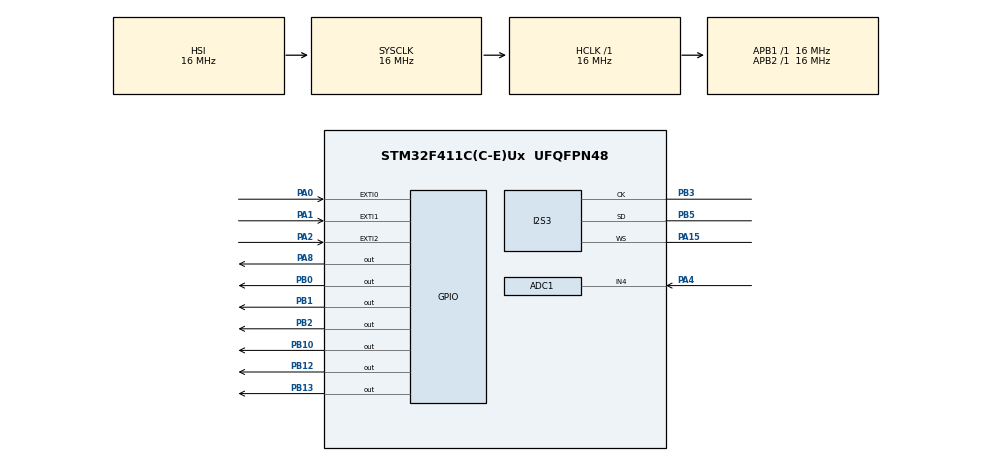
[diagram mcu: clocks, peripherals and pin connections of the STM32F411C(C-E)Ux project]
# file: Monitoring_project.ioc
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ADC1.Channel-0\#ChannelRegularConversion=ADC_CHANNEL_4
ADC1.NbrOfConversionFlag=1
ADC1.Rank-0\#ChannelRegularConversion=1
ADC1.SamplingTime-0\#ChannelRegularConversion=ADC_SAMPLETIME_3CYCLES
ADC1.master=1
Dma.Request0=SPI3_RX
Dma.SPI3_RX.0.Direction=DMA_PERIPH_TO_MEMORY
Dma.SPI3_RX.0.FIFOMode=DMA_FIFOMODE_DISABLE
Dma.SPI3_RX.0.Instance=DMA1_Stream0
Dma.SPI3_RX.0.MemDataAlignment=DMA_MDATAALIGN_HALFWORD
Dma.SPI3_RX.0.MemInc=DMA_MINC_ENABLE
Dma.SPI3_RX.0.Mode=DMA_CIRCULAR
Dma.SPI3_RX.0.PeriphDataAlignment=DMA_PDATAALIGN_HALFWORD
Dma.SPI3_RX.0.PeriphInc=DMA_PINC_DISABLE
Dma.SPI3_RX.0.Priority=DMA_PRIORITY_HIGH
I2S3.AudioFreq=I2S_AUDIOFREQ_16K
I2S3.DataFormat=I2S_DATAFORMAT_24B
I2S3.ErrorAudioFreq=-0.26 %
I2S3.FullDuplexMode=I2S_FULLDUPLEXMODE_DISABLE
I2S3.Instance=SPI$Index
I2S3.Mode=I2S_MODE_MASTER_RX
I2S3.RealAudioFreq=15.957 KHz
I2S3.VirtualMode=I2S_MODE_MASTER
Mcu.Family=STM32F4
Mcu.Name=STM32F411C(C-E)Ux
Mcu.Package=UFQFPN48
NVIC.DMA1_Stream0_IRQn=true\:0\:0\:false\:false\:true\:false\:true\:true
NVIC.EXTI0_IRQn=true\:0\:0\:false\:false\:true\:true\:true\:true
NVIC.EXTI1_IRQn=true\:0\:0\:false\:false\:true\:true\:true\:true
NVIC.EXTI2_IRQn=true\:0\:0\:false\:false\:true\:true\:true\:true
NVIC.PriorityGroup=NVIC_PRIORITYGROUP_4
NVIC.SPI3_IRQn=true\:0\:0\:false\:false\:true\:true\:true\:true
PA0-WKUP.GPIO_ModeDefaultEXTI=GPIO_MODE_IT_FALLING
PA0-WKUP.GPIO_PuPd=GPIO_PULLUP
PA0-WKUP.Signal=GPXTI0
PA1.GPIO_ModeDefaultEXTI=GPIO_MODE_IT_FALLING
PA1.GPIO_PuPd=GPIO_PULLUP
PA1.Signal=GPXTI1
PA15.Mode=Half_Duplex_Master
PA15.Signal=I2S3_WS
PA2.GPIO_ModeDefaultEXTI=GPIO_MODE_IT_RISING_FALLING
PA2.GPIO_PuPd=GPIO_PULLUP
PA2.Signal=GPXTI2
PA4.Signal=ADCx_IN4
PA8.GPIO_ModeDefaultOutputPP=GPIO_MODE_OUTPUT_OD
PA8.GPIO_PuPd=GPIO_NOPULL
PA8.Signal=GPIO_Output
PB0.Signal=GPIO_Output
PB1.Signal=GPIO_Output
PB10.Signal=GPIO_Output
PB12.Signal=GPIO_Output
PB13.Signal=GPIO_Output
PB2.Signal=GPIO_Output
PB3.Mode=Half_Duplex_Master
PB3.Signal=I2S3_CK
PB5.Mode=Half_Duplex_Master
PB5.Signal=I2S3_SD
PC14-OSC32_IN.Mode=LSE-External-Oscillator
PC14-OSC32_IN.Signal=RCC_OSC32_IN
PC15-OSC32_OUT.Mode=LSE-External-Oscillator
PC15-OSC32_OUT.Signal=RCC_OSC32_OUT
ProjectManager.HeapSize=0x200
ProjectManager.StackSize=0x400
ProjectManager.TargetToolchain=STM32CubeIDE
RCC.AHBFreq_Value=16000000
RCC.APB1Freq_Value=16000000
RCC.APB2Freq_Value=16000000
RCC.CortexFreq_Value=16000000
RCC.HSE_VALUE=25000000
RCC.HSI_VALUE=16000000
RCC.RCC_RTC_Clock_Source=RCC_RTCCLKSOURCE_LSE
RCC.RCC_RTC_Clock_SourceVirtual=RCC_RTCCLKSOURCE_LSE
RCC.SYSCLKFreq_VALUE=16000000
RCC.VCOOutputFreq_Value=192000000
RTC.SynchPrediv=249
SH.ADCx_IN4.0=ADC1_IN4,IN4
VP_RTC_VS_RTC_Activate.Mode=RTC_Enabled
VP_RTC_VS_RTC_Calendar.Mode=RTC_Calendar
board=custom

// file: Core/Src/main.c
/* USER CODE BEGIN Header */
/**
  ******************************************************************************
  * @file           : main.c
  * @brief          : Main program body
  ******************************************************************************
  * @attention
  *
  * Copyright (c) 2026 STMicroelectronics.
  * All rights reserved.
  *
  * This software is licensed under terms that can be found in the LICENSE file
  * in the root directory of this software component.
  * If no LICENSE file comes with this software, it is provided AS-IS.
  *
  ******************************************************************************
  */
/* USER CODE END Header */
#include "main.h"

/* USER CODE BEGIN Includes */
#include "lcd.h"
#include "stdio.h"
#include "buttons.h"
#include "dashboard.h"
#include "dht11.h"

/* USER CODE END Includes */

ADC_HandleTypeDef hadc1;

I2S_HandleTypeDef hi2s3;
DMA_HandleTypeDef hdma_spi3_rx;

RTC_HandleTypeDef hrtc;

/* USER CODE BEGIN PV */
RTC_TimeTypeDef gTime;
RTC_DateTypeDef gDate;
char buffer[17];

uint8_t page = 0;

GPIO_PinState nextPrevState = GPIO_PIN_SET;
GPIO_PinState prevPrevState = GPIO_PIN_SET;

uint32_t lastNextPress = 0;
uint32_t lastPrevPress = 0;
uint32_t lastClockUpdate = 0;

uint8_t pageChanged = 1;

/* USER CODE END PV */

void SystemClock_Config(void);
static void MX_GPIO_Init(void);
static void MX_DMA_Init(void);
static void MX_ADC1_Init(void);
static void MX_RTC_Init(void);
static void MX_I2S3_Init(void);

int main(void)
{

  /* MCU Configuration--------------------------------------------------------*/

  /* Reset of all peripherals, Initializes the Flash interface and the Systick. */
  HAL_Init();

  /* Configure the system clock */
  SystemClock_Config();

  /* Initialize all configured peripherals */
  MX_GPIO_Init();
  MX_DMA_Init();
  MX_ADC1_Init();
  MX_RTC_Init();
  MX_I2S3_Init();
  /* USER CODE BEGIN 2 */
  Dashboard_Init();

  RTC_TimeTypeDef sTime = {0};
  RTC_DateTypeDef sDate = {0};

  sTime.Hours = 14;
  sTime.Minutes = 30;
  sTime.Seconds = 0;
  sTime.DayLightSaving = RTC_DAYLIGHTSAVING_NONE;
  sTime.StoreOperation = RTC_STOREOPERATION_RESET;

  HAL_RTC_SetTime(&hrtc, &sTime, RTC_FORMAT_BIN);

  sDate.Year = 26;
  sDate.Month = RTC_MONTH_NOVEMBER;
  sDate.Date = 10;
  sDate.WeekDay = RTC_WEEKDAY_TUESDAY;

  HAL_RTC_SetDate(&hrtc, &sDate, RTC_FORMAT_BIN);

  /* USER CODE END 2 */

  /* Infinite loop */
  while (1)
  {

    /* USER CODE BEGIN 3 */
	  Dashboard_Process();

  }
  /* USER CODE END 3 */
}

void SystemClock_Config(void)
{
  RCC_OscInitTypeDef RCC_OscInitStruct = {0};
  RCC_ClkInitTypeDef RCC_ClkInitStruct = {0};

  /** Macro to configure the PLL multiplication factor
  */
  __HAL_RCC_PLL_PLLM_CONFIG(16);

  /** Macro to configure the PLL clock source
  */
  __HAL_RCC_PLL_PLLSOURCE_CONFIG(RCC_PLLSOURCE_HSI);

  /** Configure the main internal regulator output voltage
  */
  __HAL_RCC_PWR_CLK_ENABLE();
  __HAL_PWR_VOLTAGESCALING_CONFIG(PWR_REGULATOR_VOLTAGE_SCALE1);

  /** Initializes the RCC Oscillators according to the specified parameters
  * in the RCC_OscInitTypeDef structure.
  */
  RCC_OscInitStruct.OscillatorType = RCC_OSCILLATORTYPE_HSI|RCC_OSCILLATORTYPE_LSE;
  RCC_OscInitStruct.LSEState = RCC_LSE_ON;
  RCC_OscInitStruct.HSIState = RCC_HSI_ON;
  RCC_OscInitStruct.HSICalibrationValue = RCC_HSICALIBRATION_DEFAULT;
  RCC_OscInitStruct.PLL.PLLState = RCC_PLL_NONE;
  RCC_OscInitStruct.PLL.PLLSource = RCC_PLLSOURCE_HSI;
  if (HAL_RCC_OscConfig(&RCC_OscInitStruct) != HAL_OK)
  {
    Error_Handler();
  }

  /** Initializes the CPU, AHB and APB buses clocks
  */
  RCC_ClkInitStruct.ClockType = RCC_CLOCKTYPE_HCLK|RCC_CLOCKTYPE_SYSCLK
                              |RCC_CLOCKTYPE_PCLK1|RCC_CLOCKTYPE_PCLK2;
  RCC_ClkInitStruct.SYSCLKSource = RCC_SYSCLKSOURCE_HSI;
  RCC_ClkInitStruct.AHBCLKDivider = RCC_SYSCLK_DIV1;
  RCC_ClkInitStruct.APB1CLKDivider = RCC_HCLK_DIV1;
  RCC_ClkInitStruct.APB2CLKDivider = RCC_HCLK_DIV1;

  if (HAL_RCC_ClockConfig(&RCC_ClkInitStruct, FLASH_LATENCY_0) != HAL_OK)
  {
    Error_Handler();
  }
}

static void MX_ADC1_Init(void)
{

  ADC_ChannelConfTypeDef sConfig = {0};

  /** Configure the global features of the ADC (Clock, Resolution, Data Alignment and number of conversion)
  */
  hadc1.Instance = ADC1;
  hadc1.Init.ClockPrescaler = ADC_CLOCK_SYNC_PCLK_DIV2;
  hadc1.Init.Resolution = ADC_RESOLUTION_12B;
  hadc1.Init.ScanConvMode = DISABLE;
  hadc1.Init.ContinuousConvMode = DISABLE;
  hadc1.Init.DiscontinuousConvMode = DISABLE;
  hadc1.Init.ExternalTrigConvEdge = ADC_EXTERNALTRIGCONVEDGE_NONE;
  hadc1.Init.ExternalTrigConv = ADC_SOFTWARE_START;
  hadc1.Init.DataAlign = ADC_DATAALIGN_RIGHT;
  hadc1.Init.NbrOfConversion = 1;
  hadc1.Init.DMAContinuousRequests = DISABLE;
  hadc1.Init.EOCSelection = ADC_EOC_SINGLE_CONV;
  if (HAL_ADC_Init(&hadc1) != HAL_OK)
  {
    Error_Handler();
  }

  /** Configure for the selected ADC regular channel its corresponding rank in the sequencer and its sample time.
  */
  sConfig.Channel = ADC_CHANNEL_4;
  sConfig.Rank = 1;
  sConfig.SamplingTime = ADC_SAMPLETIME_3CYCLES;
  if (HAL_ADC_ConfigChannel(&hadc1, &sConfig) != HAL_OK)
  {
    Error_Handler();
  }

}

static void MX_I2S3_Init(void)
{

  hi2s3.Instance = SPI3;
  hi2s3.Init.Mode = I2S_MODE_MASTER_RX;
  hi2s3.Init.Standard = I2S_STANDARD_PHILIPS;
  hi2s3.Init.DataFormat = I2S_DATAFORMAT_24B;
  hi2s3.Init.MCLKOutput = I2S_MCLKOUTPUT_DISABLE;
  hi2s3.Init.AudioFreq = I2S_AUDIOFREQ_16K;
  hi2s3.Init.CPOL = I2S_CPOL_LOW;
  hi2s3.Init.ClockSource = I2S_CLOCK_PLL;
  hi2s3.Init.FullDuplexMode = I2S_FULLDUPLEXMODE_DISABLE;
  if (HAL_I2S_Init(&hi2s3) != HAL_OK)
  {
    Error_Handler();
  }

}

static void MX_RTC_Init(void)
{

  RTC_TimeTypeDef sTime = {0};
  RTC_DateTypeDef sDate = {0};

  /** Initialize RTC Only
  */
  hrtc.Instance = RTC;
  hrtc.Init.HourFormat = RTC_HOURFORMAT_24;
  hrtc.Init.AsynchPrediv = 127;
  hrtc.Init.SynchPrediv = 249;
  hrtc.Init.OutPut = RTC_OUTPUT_DISABLE;
  hrtc.Init.OutPutPolarity = RTC_OUTPUT_POLARITY_HIGH;
  hrtc.Init.OutPutType = RTC_OUTPUT_TYPE_OPENDRAIN;
  if (HAL_RTC_Init(&hrtc) != HAL_OK)
  {
    Error_Handler();
  }

  /** Initialize RTC and set the Time and Date
  */
  sTime.Hours = 0x0;
  sTime.Minutes = 0x0;
  sTime.Seconds = 0x0;
  sTime.DayLightSaving = RTC_DAYLIGHTSAVING_NONE;
  sTime.StoreOperation = RTC_STOREOPERATION_RESET;
  if (HAL_RTC_SetTime(&hrtc, &sTime, RTC_FORMAT_BCD) != HAL_OK)
  {
    Error_Handler();
  }
  sDate.WeekDay = RTC_WEEKDAY_MONDAY;
  sDate.Month = RTC_MONTH_JANUARY;
  sDate.Date = 0x1;
  sDate.Year = 0x0;

  if (HAL_RTC_SetDate(&hrtc, &sDate, RTC_FORMAT_BCD) != HAL_OK)
  {
    Error_Handler();
  }

}

static void MX_DMA_Init(void)
{

  /* DMA controller clock enable */
  __HAL_RCC_DMA1_CLK_ENABLE();

  /* DMA interrupt init */
  /* DMA1_Stream0_IRQn interrupt configuration */
  HAL_NVIC_SetPriority(DMA1_Stream0_IRQn, 0, 0);
  HAL_NVIC_EnableIRQ(DMA1_Stream0_IRQn);

}

static void MX_GPIO_Init(void)
{
  GPIO_InitTypeDef GPIO_InitStruct = {0};

  /* GPIO Ports Clock Enable */
  __HAL_RCC_GPIOC_CLK_ENABLE();
  __HAL_RCC_GPIOA_CLK_ENABLE();
  __HAL_RCC_GPIOB_CLK_ENABLE();

  /*Configure GPIO pin Output Level */
  HAL_GPIO_WritePin(GPIOB, GPIO_PIN_0|GPIO_PIN_1|GPIO_PIN_2|GPIO_PIN_10
                          |GPIO_PIN_12|GPIO_PIN_13, GPIO_PIN_RESET);

  /*Configure GPIO pin Output Level */
  HAL_GPIO_WritePin(GPIOA, GPIO_PIN_8, GPIO_PIN_RESET);

  /*Configure GPIO pins : PA0 PA1 */
  GPIO_InitStruct.Pin = GPIO_PIN_0|GPIO_PIN_1;
  GPIO_InitStruct.Mode = GPIO_MODE_IT_FALLING;
  GPIO_InitStruct.Pull = GPIO_PULLUP;
  HAL_GPIO_Init(GPIOA, &GPIO_InitStruct);

  /*Configure GPIO pin : PA2 */
  GPIO_InitStruct.Pin = GPIO_PIN_2;
  GPIO_InitStruct.Mode = GPIO_MODE_IT_RISING_FALLING;
  GPIO_InitStruct.Pull = GPIO_PULLUP;
  HAL_GPIO_Init(GPIOA, &GPIO_InitStruct);

  /*Configure GPIO pins : PB0 PB1 PB2 PB10
                           PB12 PB13 */
  GPIO_InitStruct.Pin = GPIO_PIN_0|GPIO_PIN_1|GPIO_PIN_2|GPIO_PIN_10
                          |GPIO_PIN_12|GPIO_PIN_13;
  GPIO_InitStruct.Mode = GPIO_MODE_OUTPUT_PP;
  GPIO_InitStruct.Pull = GPIO_NOPULL;
  GPIO_InitStruct.Speed = GPIO_SPEED_FREQ_LOW;
  HAL_GPIO_Init(GPIOB, &GPIO_InitStruct);

  /*Configure GPIO pin : PA8 */
  GPIO_InitStruct.Pin = GPIO_PIN_8;
  GPIO_InitStruct.Mode = GPIO_MODE_OUTPUT_OD;
  GPIO_InitStruct.Pull = GPIO_NOPULL;
  GPIO_InitStruct.Speed = GPIO_SPEED_FREQ_LOW;
  HAL_GPIO_Init(GPIOA, &GPIO_InitStruct);

  /* EXTI interrupt init*/
  HAL_NVIC_SetPriority(EXTI0_IRQn, 0, 0);
  HAL_NVIC_EnableIRQ(EXTI0_IRQn);

  HAL_NVIC_SetPriority(EXTI1_IRQn, 0, 0);
  HAL_NVIC_EnableIRQ(EXTI1_IRQn);

  HAL_NVIC_SetPriority(EXTI2_IRQn, 0, 0);
  HAL_NVIC_EnableIRQ(EXTI2_IRQn);

}

void Error_Handler(void)
{
  __disable_irq();
  while (1)
  {
  }
}
